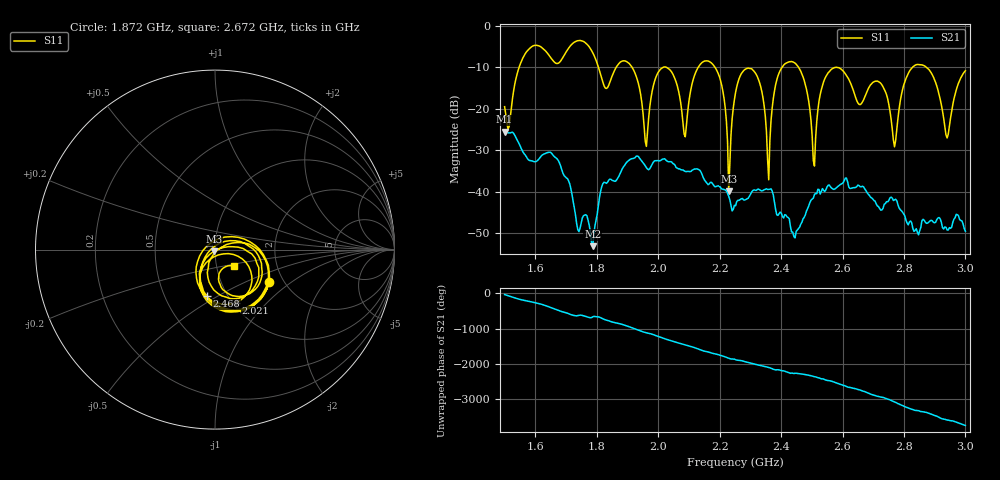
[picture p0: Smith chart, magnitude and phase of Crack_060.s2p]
# HZ S RI R 50
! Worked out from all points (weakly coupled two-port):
!   404 points, 1.5 GHz to 3 GHz, reference 50 ohm
!   highest |S21| = -25.53 dB at 1.5 GHz (marker M1); lowest = -53.1 dB at 1.787 GHz (marker M2)
!   lowest |S11| = -39.9 dB at 2.23 GHz (marker M3), VSWR 1.02, Z = 49.5 - j0.856 ohm
!   |S11| at or under -10 dB: 2.185 GHz to 2.404 GHz (219 MHz wide, 9.55 % of centre); 2.457 GHz to 2.828 GHz (371.5 MHz wide, 14.1 % of centre); 2.873 GHz to end of sweep (the widest 3 of 7)
!   S12 and S22 are empty: the file has one direction only
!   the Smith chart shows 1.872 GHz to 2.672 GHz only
!   S11 on the Smith chart (normalised r, x): 1.872 GHz: 1.68, -0.69; 2.021 GHz: 1.04, -0.68; 2.468 GHz: 0.80, -0.45; 2.672 GHz: 1.21, -0.23
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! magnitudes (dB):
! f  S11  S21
! 1.5 GHz  -19.5  -25.5
! 1.753 GHz  -3.7  -46.3
! 1.787 GHz  -6.5  -53.1
! 1.872 GHz  -9.1  -36.2
! 1.962 GHz  -29.1  -34.2
! 2.002 GHz  -11.0  -32.6
! 2.021 GHz  -9.9  -32.0
! 2.088 GHz  -26.8  -35.1
! 2.181 GHz  -9.6  -38.5
! 2.23 GHz  -39.9  -41.1
! 2.252 GHz  -16.1  -43.4
! 2.315 GHz  -11.3  -39.6
! 2.36 GHz  -37.1  -39.4
! 2.397 GHz  -10.8  -44.9
! 2.468 GHz  -11.6  -47.4
! 2.501 GHz  -26.6  -41.8
! 2.565 GHz  -10.5  -39.1
! 2.672 GHz  -17.2  -39.3
! 2.751 GHz  -18.9  -42.1
! 2.862 GHz  -9.5  -46.7
! 2.94 GHz  -27.1  -49.2
! 3 GHz  -10.9  -49.5
